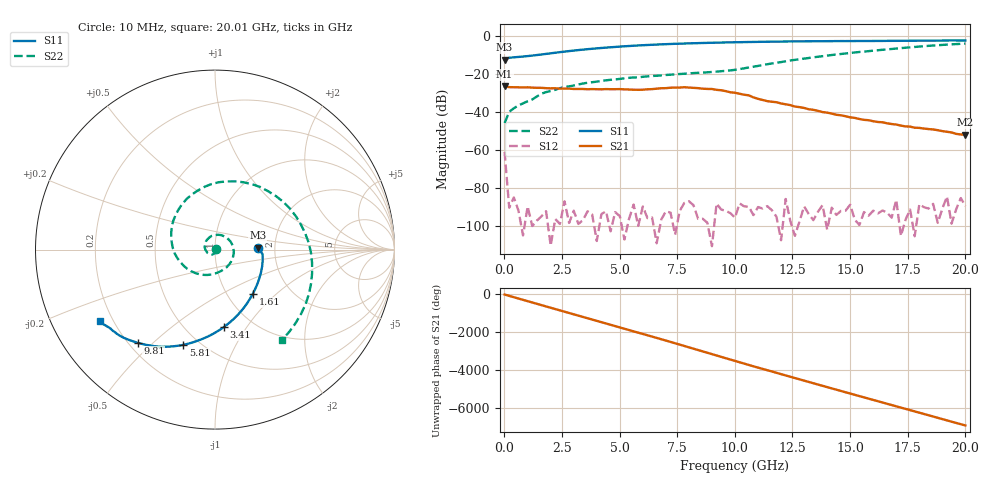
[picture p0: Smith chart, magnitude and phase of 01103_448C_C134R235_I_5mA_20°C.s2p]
!;Filter: kein Filter
!auto
!3/21/2019 9:27:39 AM
!3/21/2019 9:27:53 AM
!SP-Measurements Prober G4
!SP-Measurements Prober G4
!134
!235
!12
!20
!-20
!0.00499992
!1.96
!0.64375220
!0.64375220
# Hz S  RI  R 50
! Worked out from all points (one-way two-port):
!   101 points, 10 MHz to 20.01 GHz, reference 50 ohm
!   highest |S21| = -26.63 dB at 10 MHz (marker M1); lowest = -52.0 dB at 20.01 GHz (marker M2)
!   lowest |S11| = -12.4 dB at 10 MHz (marker M3), VSWR 1.63, Z = 81.3 + j1.99 ohm
!   |S11| at or under -10 dB: start of sweep to 1.471 GHz
!   |S22| runs from -45.8 to -4.1 dB; largest |S21 - S12| = 0.046
!   S11 on the Smith chart (normalised r, x): 10 MHz: 1.63, +0.04; 1.61 GHz: 1.31, -0.72; 3.41 GHz: 0.74, -0.79; 5.81 GHz: 0.41, -0.64; 9.81 GHz: 0.23, -0.45; 20.01 GHz: 0.15, -0.28
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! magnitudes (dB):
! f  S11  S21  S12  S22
! 10 MHz  -12.4  -26.6  -61.1  -45.8
! 210 MHz  -11.5  -27.0  -90.5  -40.0
! 610 MHz  -11.1  -27.1  -91.9  -36.6
! 1.21 GHz  -10.4  -27.3  -100.1  -33.5
! 1.61 GHz  -9.8  -27.4  -95.0  -30.4
! 2.61 GHz  -8.3  -27.8  -87.1  -26.9
! 3.41 GHz  -7.2  -28.0  -97.0  -25.1
! 4.41 GHz  -6.2  -28.0  -92.3  -23.4
! 5.81 GHz  -5.1  -28.4  -100.0  -21.8
! 6.81 GHz  -4.5  -27.6  -96.6  -20.8
! 7.81 GHz  -4.0  -27.0  -88.0  -19.9
! 9.01 GHz  -3.6  -28.0  -110.7  -19.0
! 9.81 GHz  -3.4  -29.7  -93.3  -18.2
! 10.01 GHz  -3.4  -30.0  -95.7  -17.9
! 10.61 GHz  -3.2  -31.3  -89.9  -16.6
! 11.01 GHz  -3.2  -33.2  -90.1  -15.8
! 11.41 GHz  -3.1  -34.4  -89.6  -14.9
! 11.81 GHz  -3.0  -34.9  -95.2  -14.1
! 13.41 GHz  -2.8  -38.9  -97.0  -11.3
! 15.01 GHz  -2.7  -42.9  -88.9  -9.0
! 16.81 GHz  -2.6  -46.4  -95.7  -6.9
! 20.01 GHz  -2.4  -52.0  -89.6  -4.1
